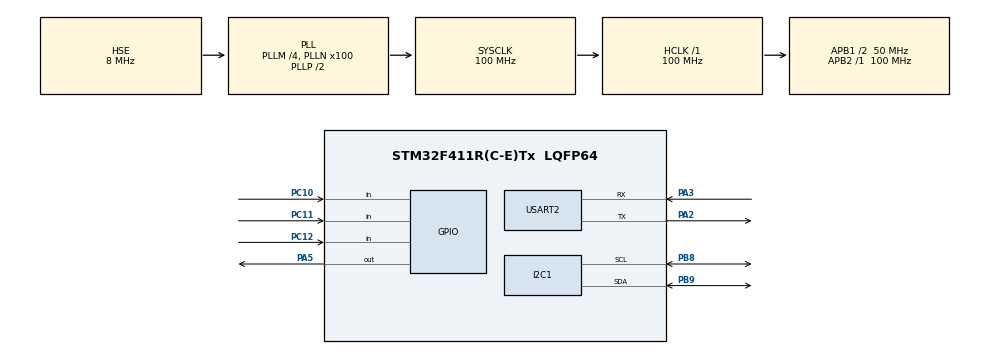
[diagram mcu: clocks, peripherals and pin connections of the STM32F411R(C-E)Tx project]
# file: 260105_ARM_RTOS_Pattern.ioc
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FREERTOS.Tasks01=defaultTask,0,128,StartDefaultTask,Default,NULL,Dynamic,NULL,NULL;ListenerTask,0,128,Listener,Default,NULL,Dynamic,NULL,NULL;ControllerTask,0,128,Controller,Default,NULL,Dynamic,NULL,NULL;PresenterTask,0,128,Presenter,Default,NULL,Dynamic,NULL,NULL
FREERTOS.configUSE_NEWLIB_REENTRANT=1
Mcu.Family=STM32F4
Mcu.Name=STM32F411R(C-E)Tx
Mcu.Package=LQFP64
NVIC.PriorityGroup=NVIC_PRIORITYGROUP_4
NVIC.TIM1_TRG_COM_TIM11_IRQn=true\:15\:0\:false\:false\:true\:false\:false\:true\:true
NVIC.TIM1_UP_TIM10_IRQn=true\:5\:0\:false\:false\:true\:true\:true\:true\:true
NVIC.TimeBase=TIM1_TRG_COM_TIM11_IRQn
NVIC.TimeBaseIP=TIM11
PA13.Mode=Serial_Wire
PA13.Signal=SYS_JTMS-SWDIO
PA14.Mode=Serial_Wire
PA14.Signal=SYS_JTCK-SWCLK
PA2.Mode=Asynchronous
PA2.Signal=USART2_TX
PA3.Mode=Asynchronous
PA3.Signal=USART2_RX
PA5.Signal=GPIO_Output
PB8.Mode=I2C
PB8.Signal=I2C1_SCL
PB9.Mode=I2C
PB9.Signal=I2C1_SDA
PC10.Signal=GPIO_Input
PC11.Signal=GPIO_Input
PC12.Signal=GPIO_Input
PH0\ -\ OSC_IN.Mode=HSE-External-Oscillator
PH0\ -\ OSC_IN.Signal=RCC_OSC_IN
PH1\ -\ OSC_OUT.Mode=HSE-External-Oscillator
PH1\ -\ OSC_OUT.Signal=RCC_OSC_OUT
ProjectManager.HeapSize=0x200
ProjectManager.StackSize=0x400
ProjectManager.TargetToolchain=STM32CubeIDE
RCC.48MHZClocksFreq_Value=50000000
RCC.AHBFreq_Value=100000000
RCC.APB1CLKDivider=RCC_HCLK_DIV2
RCC.APB1Freq_Value=50000000
RCC.APB1TimFreq_Value=100000000
RCC.APB2Freq_Value=100000000
RCC.APB2TimFreq_Value=100000000
RCC.CortexFreq_Value=100000000
RCC.HCLKFreq_Value=100000000
RCC.HSE_VALUE=8000000
RCC.HSI_VALUE=16000000
RCC.LSE_VALUE=32768
RCC.PLLM=4
RCC.PLLN=100
RCC.PLLSourceVirtual=RCC_PLLSOURCE_HSE
RCC.SYSCLKFreq_VALUE=100000000
RCC.SYSCLKSource=RCC_SYSCLKSOURCE_PLLCLK
RCC.VCOOutputFreq_Value=200000000
TIM1.Period=1000-1
TIM1.Prescaler=100-1
USART2.VirtualMode=VM_ASYNC
VP_FREERTOS_VS_CMSIS_V1.Mode=CMSIS_V1
VP_SYS_VS_tim11.Mode=TIM11
VP_TIM1_VS_ClockSourceINT.Mode=Internal
board=custom

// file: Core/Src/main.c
/* USER CODE BEGIN Header */
/**
 ******************************************************************************
 * @file           : main.c
 * @brief          : Main program body
 ******************************************************************************
 * @attention
 *
 * Copyright (c) 2026 STMicroelectronics.
 * All rights reserved.
 *
 * This software is licensed under terms that can be found in the LICENSE file
 * in the root directory of this software component.
 * If no LICENSE file comes with this software, it is provided AS-IS.
 *
 ******************************************************************************
 */
/* USER CODE END Header */
#include "main.h"
#include "cmsis_os.h"
#include "i2c.h"
#include "tim.h"
#include "usart.h"
#include "gpio.h"

/* USER CODE BEGIN Includes */
#include "../ap/Controller/Controller_StopWatch.h"
/* USER CODE END Includes */

void SystemClock_Config(void);
void MX_FREERTOS_Init(void);

int main(void) {

	/* MCU Configuration--------------------------------------------------------*/

	/* Reset of all peripherals, Initializes the Flash interface and the Systick. */
	HAL_Init();

	/* Configure the system clock */
	SystemClock_Config();

	/* Initialize all configured peripherals */
	MX_GPIO_Init();
	MX_I2C1_Init();
	MX_TIM1_Init();
	MX_USART2_UART_Init();

	/* Call init function for freertos objects (in cmsis_os2.c) */
	MX_FREERTOS_Init();

	/* Start scheduler */
	osKernelStart();

	/* We should never get here as control is now taken by the scheduler */

	/* Infinite loop */
	while (1) {

	}
}

void SystemClock_Config(void) {
	RCC_OscInitTypeDef RCC_OscInitStruct = { 0 };
	RCC_ClkInitTypeDef RCC_ClkInitStruct = { 0 };

	/** Configure the main internal regulator output voltage
	 */
	__HAL_RCC_PWR_CLK_ENABLE();
	__HAL_PWR_VOLTAGESCALING_CONFIG(PWR_REGULATOR_VOLTAGE_SCALE1);

	/** Initializes the RCC Oscillators according to the specified parameters
	 * in the RCC_OscInitTypeDef structure.
	 */
	RCC_OscInitStruct.OscillatorType = RCC_OSCILLATORTYPE_HSE;
	RCC_OscInitStruct.HSEState = RCC_HSE_ON;
	RCC_OscInitStruct.PLL.PLLState = RCC_PLL_ON;
	RCC_OscInitStruct.PLL.PLLSource = RCC_PLLSOURCE_HSE;
	RCC_OscInitStruct.PLL.PLLM = 4;
	RCC_OscInitStruct.PLL.PLLN = 100;
	RCC_OscInitStruct.PLL.PLLP = RCC_PLLP_DIV2;
	RCC_OscInitStruct.PLL.PLLQ = 4;
	if (HAL_RCC_OscConfig(&RCC_OscInitStruct) != HAL_OK) {
		Error_Handler();
	}

	/** Initializes the CPU, AHB and APB buses clocks
	 */
	RCC_ClkInitStruct.ClockType = RCC_CLOCKTYPE_HCLK | RCC_CLOCKTYPE_SYSCLK
			| RCC_CLOCKTYPE_PCLK1 | RCC_CLOCKTYPE_PCLK2;
	RCC_ClkInitStruct.SYSCLKSource = RCC_SYSCLKSOURCE_PLLCLK;
	RCC_ClkInitStruct.AHBCLKDivider = RCC_SYSCLK_DIV1;
	RCC_ClkInitStruct.APB1CLKDivider = RCC_HCLK_DIV2;
	RCC_ClkInitStruct.APB2CLKDivider = RCC_HCLK_DIV1;

	if (HAL_RCC_ClockConfig(&RCC_ClkInitStruct, FLASH_LATENCY_3) != HAL_OK) {
		Error_Handler();
	}
}

void HAL_TIM_PeriodElapsedCallback(TIM_HandleTypeDef *htim) {
	if (htim->Instance == TIM11) {
		HAL_IncTick();
	}
	/* USER CODE BEGIN Callback 1 */
	if (htim->Instance == TIM1) {
		Controller_StopWatch_IncTimeCallBack();
	}
	/* USER CODE END Callback 1 */
}

void Error_Handler(void) {
	__disable_irq();
	while (1) {
	}
}

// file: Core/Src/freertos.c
/* USER CODE BEGIN Header */
/**
 ******************************************************************************
 * File Name          : freertos.c
 * Description        : Code for freertos applications
 ******************************************************************************
 * @attention
 *
 * Copyright (c) 2026 STMicroelectronics.
 * All rights reserved.
 *
 * This software is licensed under terms that can be found in the LICENSE file
 * in the root directory of this software component.
 * If no LICENSE file comes with this software, it is provided AS-IS.
 *
 ******************************************************************************
 */
/* USER CODE END Header */

#include "FreeRTOS.h"
#include "task.h"
#include "main.h"
#include "cmsis_os.h"

/* USER CODE BEGIN Includes */
#include "../ap/Listener/Listener.h"
#include "../ap/Controller/Controller.h"
#include "../ap/Presenter/Presenter.h"
#include "../ap/Model/Model_Mode.h"
#include "../ap/Model/Model_StopWatch.h"
/* USER CODE END Includes */

osThreadId defaultTaskHandle;
osThreadId ListenerTaskHandle;
osThreadId ControllerTaskHandle;
osThreadId PresenterTaskHandle;

void StartDefaultTask(void const *argument);
void Listener(void const *argument);
void Controller(void const *argument);
void Presenter(void const *argument);

void MX_FREERTOS_Init(void); /* (MISRA C 2004 rule 8.1) */

/* GetIdleTaskMemory prototype (linked to static allocation support) */
void vApplicationGetIdleTaskMemory(StaticTask_t **ppxIdleTaskTCBBuffer,
		StackType_t **ppxIdleTaskStackBuffer, uint32_t *pulIdleTaskStackSize);

/* USER CODE BEGIN GET_IDLE_TASK_MEMORY */
static StaticTask_t xIdleTaskTCBBuffer;
static StackType_t xIdleStack[configMINIMAL_STACK_SIZE];

void vApplicationGetIdleTaskMemory(StaticTask_t **ppxIdleTaskTCBBuffer,
		StackType_t **ppxIdleTaskStackBuffer, uint32_t *pulIdleTaskStackSize) {
	*ppxIdleTaskTCBBuffer = &xIdleTaskTCBBuffer;
	*ppxIdleTaskStackBuffer = &xIdleStack[0];
	*pulIdleTaskStackSize = configMINIMAL_STACK_SIZE;
	/* place for user code */
}
/* USER CODE END GET_IDLE_TASK_MEMORY */

void MX_FREERTOS_Init(void) {

	/* USER CODE BEGIN RTOS_QUEUES */
	/* add queues, ... */
	Model_ModeInit();
	Model_StopWatchInit();
	/* USER CODE END RTOS_QUEUES */

	/* Create the thread(s) */
	/* definition and creation of defaultTask */
	osThreadDef(defaultTask, StartDefaultTask, osPriorityNormal, 0, 128);
	defaultTaskHandle = osThreadCreate(osThread(defaultTask), NULL);

	/* definition and creation of ListenerTask */
	osThreadDef(ListenerTask, Listener, osPriorityNormal, 0, 128);
	ListenerTaskHandle = osThreadCreate(osThread(ListenerTask), NULL);

	/* definition and creation of ControllerTask */
	osThreadDef(ControllerTask, Controller, osPriorityNormal, 0, 128);
	ControllerTaskHandle = osThreadCreate(osThread(ControllerTask), NULL);

	/* definition and creation of PresenterTask */
	osThreadDef(PresenterTask, Presenter, osPriorityNormal, 0, 128);
	PresenterTaskHandle = osThreadCreate(osThread(PresenterTask), NULL);

}

void StartDefaultTask(void const *argument) {
	for (;;) {
		osDelay(1);
	}
}

void Listener(void const *argument) {
	/* USER CODE BEGIN Listener */
	Listener_Init();
	/* Infinite loop */
	for (;;) {
		Listener_Excute();
		osDelay(1);
	}
	/* USER CODE END Listener */
}

void Controller(void const *argument) {
	/* USER CODE BEGIN Controller */
	Controller_Init();
	/* Infinite loop */
	for (;;) {
		Controller_Excute();
		osDelay(1);
	}
	/* USER CODE END Controller */
}

void Presenter(void const *argument) {
	/* USER CODE BEGIN Presenter */
	Presenter_Init();
	/* Infinite loop */
	for (;;) {
		Presenter_Excute();
		osDelay(1);
	}
	/* USER CODE END Presenter */
}
